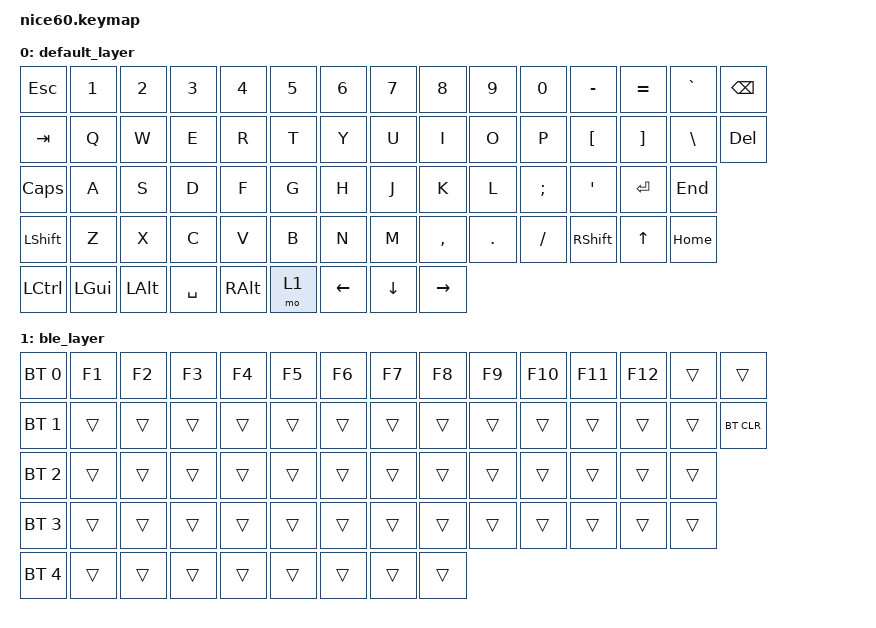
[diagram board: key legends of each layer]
/*
 * Copyright (c) 2021 Nick Winans
 *
 * SPDX-License-Identifier: MIT
 */

#include <behaviors.dtsi>
#include <dt-bindings/zmk/keys.h>
#include <dt-bindings/zmk/bt.h>

/ {
    keymap {
        compatible = "zmk,keymap";

        default_layer {
            bindings = <
    &kp ESC  &kp N1 &kp N2 &kp N3 &kp N4 &kp N5 &kp N6 &kp N7 &kp N8 &kp N9 &kp N0 &kp MINUS &kp EQUAL &kp GRAVE  &kp BSPC
    &kp TAB  &kp Q  &kp W  &kp E  &kp R  &kp T  &kp Y  &kp U  &kp I  &kp O  &kp P  &kp LBKT  &kp RBKT  &kp BSLH &kp DEL
    &kp CLCK  &kp A  &kp S  &kp D  &kp F  &kp G  &kp H  &kp J  &kp K  &kp L  &kp SEMI &kp SQT           &kp RET &kp END
    &kp LSHFT   &kp Z  &kp X  &kp C  &kp V  &kp B  &kp N  &kp M  &kp COMMA &kp DOT &kp FSLH           &kp RSHFT &kp UP &kp HOME
    &kp LCTRL &kp LGUI &kp LALT             &kp SPACE                     &kp RALT  &mo 1   &kp LEFT &kp DOWN &kp RIGHT
            >;
        };

        ble_layer {
            bindings = <
    &bt BT_SEL 0   &kp F1    &kp F2    &kp F3  &kp F4  &kp F5 &kp F6 &kp F7  &kp F8   &kp F9   &kp F10  &kp F11 &kp F12  &trans  &trans
    &bt BT_SEL 1   &trans    &trans    &trans  &trans  &trans &trans &trans  &trans   &trans   &trans   &trans  &trans   &trans  &bt BT_CLR
    &bt BT_SEL 2   &trans    &trans    &trans  &trans  &trans &trans &trans  &trans   &trans   &trans   &trans  &trans   &trans
    &bt BT_SEL 3   &trans    &trans    &trans  &trans  &trans &trans &trans  &trans   &trans   &trans   &trans  &trans   &trans    
    &bt BT_SEL 4   &trans    &trans    &trans  &trans  &trans &trans &trans  &trans
            >;
        };
    };
};

